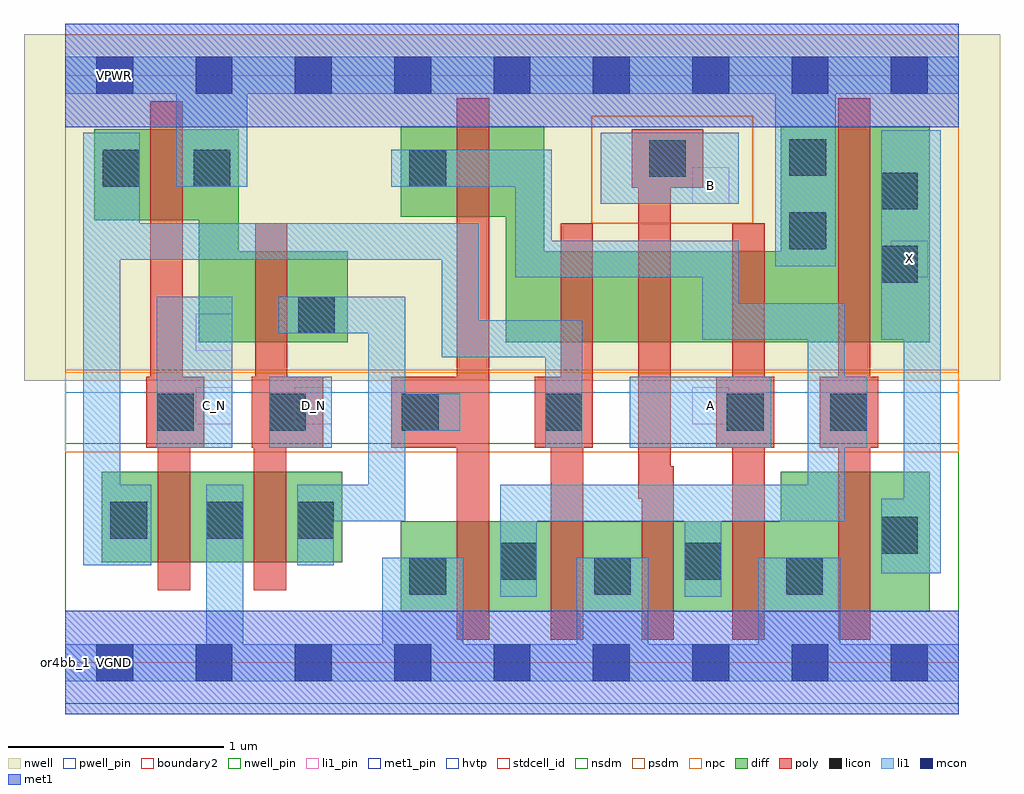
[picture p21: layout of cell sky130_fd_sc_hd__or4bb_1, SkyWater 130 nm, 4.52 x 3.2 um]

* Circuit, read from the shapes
.subckt sky130_fd_sc_hd__or4bb_1 A B C_N D_N VGND VNB VPB VPWR X
XM1 VGND C_N n1 VNB sky130_fd_pr__nfet_01v8 w=0.42 l=0.15
XM2 n2 D_N VGND VNB sky130_fd_pr__nfet_01v8 w=0.42 l=0.15
XM3 n3 n2 VGND VNB sky130_fd_pr__nfet_01v8 w=0.42 l=0.15
XM4 VGND n1 n3 VNB sky130_fd_pr__nfet_01v8 w=0.42 l=0.15
XM5 n3 B VGND VNB sky130_fd_pr__nfet_01v8 w=0.42 l=0.15
XM6 VGND A n3 VNB sky130_fd_pr__nfet_01v8 w=0.42 l=0.15
XM7 X n3 VGND VNB sky130_fd_pr__nfet_01v8 w=0.65 l=0.15
XM8 VPWR C_N n1 VPB sky130_fd_pr__pfet_01v8_hvt w=0.42 l=0.15
XM9 n2 D_N VPWR VPB sky130_fd_pr__pfet_01v8_hvt w=0.42 l=0.15
XM10 n4 n2 n3 VPB sky130_fd_pr__pfet_01v8_hvt w=0.42 l=0.15
XM11 n5 n1 n4 VPB sky130_fd_pr__pfet_01v8_hvt w=0.42 l=0.15
XM12 n6 B n5 VPB sky130_fd_pr__pfet_01v8_hvt w=0.42 l=0.15
XM13 VPWR A n6 VPB sky130_fd_pr__pfet_01v8_hvt w=0.42 l=0.15
XM14 X n3 VPWR VPB sky130_fd_pr__pfet_01v8_hvt w=1 l=0.15
.ends

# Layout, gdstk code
import gdstk
lib = gdstk.Library(unit=1e-6, precision=1e-09)
def R(c, l, rs):  # rectangles x0, y0, x1, y1
    for r in rs: c.add(gdstk.rectangle(r[:2], r[2:], *l))
def A(c, l, x, y, w, h, nx, ny, dx, dy):  # array of equal rectangles
    R(c, l, [(x+i*dx, y+j*dy, x+i*dx+w, y+j*dy+h) for i in range(nx) for j in range(ny)])
def P(c, l, *ps):  # polygons
    for p in ps: c.add(gdstk.Polygon(p, *l))
nwell_pin = (64, 16)
nwell = (64, 20)
diff = (65, 20)
poly = (66, 20)
licon = (66, 44)
li1_pin = (67, 16)
li1 = (67, 20)
mcon = (67, 44)
met1_pin = (68, 16)
met1 = (68, 20)
hvtp = (78, 44)
stdcell_id = (81, 4)
nsdm = (93, 44)
psdm = (94, 20)
npc = (95, 20)
pwell_pin = (122, 16)
boundary2 = (236, 0)

sky130_fd_sc_hd__or4bb_1 = lib.new_cell('sky130_fd_sc_hd__or4bb_1')
R(sky130_fd_sc_hd__or4bb_1, nwell_pin, [(0.145,2.635,0.315,2.805)])
R(sky130_fd_sc_hd__or4bb_1, nwell, [(-0.19,1.305,4.33,2.91)])
R(sky130_fd_sc_hd__or4bb_1, diff, [(0.17,0.465,1.285,0.885)])
P(sky130_fd_sc_hd__or4bb_1, diff, [(4.005,2.485),(3.315,2.485),(3.315,1.905),(2.22,1.905),(2.22,2.485),(1.555,2.485),(1.555,2.065),(2.04,2.065),(2.04,1.485),(4.005,1.485)],
  [(1.31,1.905),(0.805,1.905),(0.805,2.47),(0.135,2.47),(0.135,2.05),(0.62,2.05),(0.62,1.485),(1.31,1.485)],
  [(4.005,0.885),(3.315,0.885),(3.315,0.655),(1.555,0.655),(1.555,0.235),(4.005,0.235)])
P(sky130_fd_sc_hd__or4bb_1, poly, [(0.645,1.325),(0.545,1.325),(0.545,2.6),(0.395,2.6),(0.395,1.325),(0.375,1.325),(0.375,0.995),(0.43,0.995),(0.43,0.335),(0.58,0.335),(0.58,0.995),(0.645,0.995)],
  [(1.195,1.325),(1.03,1.325),(1.03,2.035),(0.88,2.035),(0.88,1.325),(0.865,1.325),(0.865,0.995),(0.875,0.995),(0.875,0.335),(1.025,0.335),(1.025,0.995),(1.195,0.995)],
  [(1.965,2.615),(1.815,2.615),(1.815,1.325),(1.51,1.325),(1.51,0.995),(1.815,0.995),(1.815,0.105),(1.965,0.105)],
  [(2.445,2.035),(2.295,2.035),(2.295,1.325),(2.175,1.325),(2.175,0.995),(2.25,0.995),(2.25,0.105),(2.4,0.105),(2.4,0.995),(2.445,0.995)],
  [(2.955,2.47),(2.625,2.47),(2.625,2.2),(2.655,2.2),(2.655,0.76),(2.67,0.76),(2.67,0.105),(2.82,0.105),(2.82,0.91),(2.805,0.91),(2.805,2.2),(2.955,2.2)],
  [(3.285,1.325),(3.24,1.325),(3.24,2.035),(3.09,2.035),(3.09,1.325),(3.015,1.325),(3.015,0.995),(3.09,0.995),(3.09,0.105),(3.24,0.105),(3.24,0.995),(3.285,0.995)],
  [(3.765,1.325),(3.73,1.325),(3.73,2.615),(3.58,2.615),(3.58,1.325),(3.495,1.325),(3.495,0.995),(3.58,0.995),(3.58,0.105),(3.73,0.105),(3.73,0.995),(3.765,0.995)])
R(sky130_fd_sc_hd__or4bb_1, licon, [(1.595,0.315,1.765,0.485), (2.45,0.315,2.62,0.485), (3.34,0.315,3.51,0.485), (2.015,0.385,2.185,0.555), (2.87,0.385,3.04,0.555), (3.78,0.505,3.95,0.675), (0.21,0.575,0.38,0.745), (0.655,0.575,0.825,0.745), (1.075,0.575,1.245,0.745), (0.425,1.075,0.595,1.245), (0.945,1.075,1.115,1.245), (1.56,1.075,1.73,1.245), (2.225,1.075,2.395,1.245), (3.065,1.075,3.235,1.245), (3.545,1.075,3.715,1.245), (1.08,1.525,1.25,1.695), (3.78,1.76,3.95,1.93), (3.355,1.915,3.525,2.085), (3.78,2.1,3.95,2.27), (0.175,2.205,0.345,2.375), (0.595,2.205,0.765,2.375), (1.595,2.205,1.765,2.375), (2.705,2.25,2.875,2.42), (3.355,2.255,3.525,2.425)])
R(sky130_fd_sc_hd__or4bb_1, li1_pin, [(0.605,1.105,0.775,1.275), (1.065,1.105,1.235,1.275), (2.905,1.105,3.075,1.275), (0.605,1.445,0.775,1.615), (3.825,1.785,3.995,1.955), (2.905,2.125,3.075,2.295)])
R(sky130_fd_sc_hd__or4bb_1, li1, [(0.425,0.995,0.775,1.695), (0.945,0.995,1.235,1.325), (2.615,0.995,3.27,1.325), (2.48,2.125,3.12,2.455)])
P(sky130_fd_sc_hd__or4bb_1, li1, [(4.055,2.465),(3.78,2.465),(3.78,1.495),(3.885,1.495),(3.885,0.76),(3.78,0.76),(3.78,0.415),(4.055,0.415)],
  [(3.715,1.325),(3.61,1.325),(3.61,1.665),(3.12,1.665),(3.12,1.955),(2.255,1.955),(2.255,2.375),(1.51,2.375),(1.51,2.205),(2.085,2.205),(2.085,1.785),(2.95,1.785),(2.95,1.495),(3.44,1.495),(3.44,0.825),(2.015,0.825),(2.015,0.305),(2.185,0.305),(2.185,0.655),(2.87,0.655),(2.87,0.305),(3.04,0.305),(3.04,0.655),(3.61,0.655),(3.61,0.995),(3.715,0.995)],
  [(1.83,1.245),(1.575,1.245),(1.575,1.695),(0.99,1.695),(0.99,1.525),(1.405,1.525),(1.405,0.825),(1.075,0.825),(1.075,0.45),(1.245,0.45),(1.245,0.655),(1.575,0.655),(1.575,1.075),(1.83,1.075)],
  [(2.395,1.585),(1.915,1.585),(1.915,2.035),(0.345,2.035),(0.345,2.455),(0.085,2.455),(0.085,0.45),(0.4,0.45),(0.4,0.825),(0.255,0.825),(0.255,1.865),(1.745,1.865),(1.745,1.415),(2.225,1.415),(2.225,0.995),(2.395,0.995)],
  [(4.14,2.805),(0,2.805),(0,2.635),(0.515,2.635),(0.515,2.205),(0.845,2.205),(0.845,2.635),(3.29,2.635),(3.29,1.835),(3.57,1.835),(3.57,2.635),(4.14,2.635)],
  [(4.14,0.085),(3.59,0.085),(3.59,0.485),(3.21,0.485),(3.21,0.085),(2.7,0.085),(2.7,0.485),(2.37,0.485),(2.37,0.085),(1.845,0.085),(1.845,0.485),(1.47,0.485),(1.47,0.085),(0.825,0.085),(0.825,0.825),(0.655,0.825),(0.655,0.085),(0,0.085),(0,-0.085),(4.14,-0.085)])
A(sky130_fd_sc_hd__or4bb_1, mcon, 0.145, -0.085, 0.17, 0.17, 9, 2, 0.46, 2.72)
R(sky130_fd_sc_hd__or4bb_1, met1_pin, [(0.145,-0.085,0.315,0.085), (0.145,2.635,0.315,2.805)])
R(sky130_fd_sc_hd__or4bb_1, hvtp, [(0,1.25,4.14,2.72)])
R(sky130_fd_sc_hd__or4bb_1, stdcell_id, [(0,0,4.14,2.72)])
R(sky130_fd_sc_hd__or4bb_1, nsdm, [(0,-0.19,4.14,1.015)])
P(sky130_fd_sc_hd__or4bb_1, psdm, [(4.14,2.91),(3.185,2.91),(3.185,2.035),(2.44,2.035),(2.44,2.53),(3.185,2.53),(3.185,2.91),(0,2.91),(0,1.355),(4.14,1.355)])
R(sky130_fd_sc_hd__or4bb_1, npc, [(0,0.975,4.14,1.345), (2.44,2.035,3.185,2.53)])
R(sky130_fd_sc_hd__or4bb_1, pwell_pin, [(0.145,-0.085,0.315,0.085)])
R(sky130_fd_sc_hd__or4bb_1, boundary2, [(0,0,4.14,2.72)])
sky130_fd_sc_hd__or4bb_1.add(gdstk.FlexPath([(0,2.72),(4.14,2.72)], 0.48, ends="flush", simple_path=True, layer=68, datatype=20))  # met1
sky130_fd_sc_hd__or4bb_1.add(gdstk.FlexPath([(0,0),(4.14,0)], 0.48, ends="flush", simple_path=True, layer=68, datatype=20))  # met1
sky130_fd_sc_hd__or4bb_1.add(gdstk.Label('A', (2.99,1.19), layer=67, texttype=5))
sky130_fd_sc_hd__or4bb_1.add(gdstk.Label('X', (3.91,1.87), layer=67, texttype=5))
sky130_fd_sc_hd__or4bb_1.add(gdstk.Label('B', (2.99,2.21), layer=67, texttype=5))
sky130_fd_sc_hd__or4bb_1.add(gdstk.Label('D_N', (1.15,1.19), layer=67, texttype=5))
sky130_fd_sc_hd__or4bb_1.add(gdstk.Label('C_N', (0.69,1.19), layer=67, texttype=5))
sky130_fd_sc_hd__or4bb_1.add(gdstk.Label('VPWR', (0.23,2.72), layer=68, texttype=5))
sky130_fd_sc_hd__or4bb_1.add(gdstk.Label('VGND', (0.23,0), layer=68, texttype=5))
sky130_fd_sc_hd__or4bb_1.add(gdstk.Label('VPB', (0.23,2.72), layer=64, texttype=5))
sky130_fd_sc_hd__or4bb_1.add(gdstk.Label('VNB', (0.23,0), layer=64, texttype=59))
sky130_fd_sc_hd__or4bb_1.add(gdstk.Label('or4bb_1', (0,0), layer=83, texttype=44))

lib.write_gds('sky130_fd_sc_hd__or4bb_1.gds')
